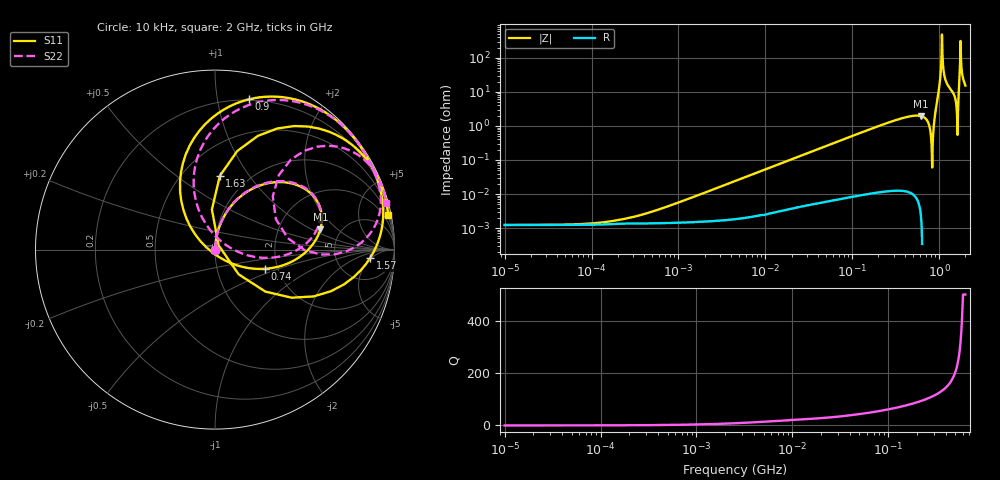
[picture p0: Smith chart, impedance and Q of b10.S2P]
!Generated from: C:\Users\nkfzm\OneDrive - University of Missouri\Desktop\Research\PowerSI\Board 10 - anchors\b10.spd
! Port1_ic_port_1::pwr
! Port2_decap_port_1::pwr
!Layout Workbench Version: 24.1.0.10141.541387  000
!Computer Host Name: RS29JQCX3
!TouchstoneFormatFlag = 1
! GNDNET gnd
! NETSLIST
#	Hz	Z	RI	R	1
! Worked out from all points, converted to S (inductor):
!   585 points, 10 kHz to 2 GHz, reference 1 ohm
!   read as one part in series: L = 864 pH near 1 MHz
!   highest Q = 690 at 610 MHz (marker M1), where L = 515 pH
!   self-resonance near 829 MHz
!   S11 on the Smith chart (normalised r, x): 10 kHz: 1.00, +0.00; 740 MHz: 1.71, -0.40; 900 MHz: 0.19, +1.24; 1.57 GHz: 12, -5; 1.63 GHz: 0.74, +0.74; 2 GHz: 1, +10
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10000  0.3459 -1.701e+05  0.3453 -1.701e+05  0.3453 -1.701e+05  0.346 -1.701e+05
3000000  0.0011 -567.1  0.000295 -567.1  0.000295 -567.1  0.00115 -567.1
1e7  0.00162 -170.1  0.000402 -170.1  0.000402 -170.1  0.00169 -170.1
4.8e7  0.00391 -35.28  0.00108 -35.4  0.00108 -35.4  0.00408 -35.27
3.34e8  0.0107 -3.93  0.00322 -4.755  0.00322 -4.755  0.0111 -3.878
6.1e8  0.0154 -0.6159  0.00518 -2.126  0.00518 -2.126  0.0158 -0.5288
6.7e8  0.0165 -0.1339  0.00573 -1.795  0.00573 -1.795  0.0169 -0.0408
7.4e8  0.0178 0.3863  0.00646 -1.451  0.00646 -1.451  0.0182 0.4849
7.85e8  0.0187 0.7045  0.00702 -1.248  0.00702 -1.248  0.0191 0.8056
8.25e8  0.0197 0.9804  0.00758 -1.074  0.00758 -1.074  0.0199 1.083
9e8  0.0216 1.488  0.00887 -0.7604  0.00887 -0.7604  0.0217 1.59
1.005e9  0.0253 2.206  0.0115 -0.3208  0.0115 -0.3208  0.0249 2.298
1.075e9  0.0289 2.713  0.0143 -0.00608  0.0143 -0.00608  0.028 2.787
1.145e9  0.0343 3.271  0.0187 0.3517  0.0187 0.3517  0.0325 3.315
1.335e9  0.0942 5.682  0.0706 2.103  0.0706 2.103  0.0799 5.433
1.57e9  0.3499 -0.8782  0.2931 -4.182  0.2931 -4.182  0.2768 0.5955
1.605e9  0.1911 0.9939  0.1528 -2.61  0.1528 -2.61  0.1533 2.086
1.63e9  0.1447 1.834  0.1115 -1.928  0.1115 -1.928  0.1171 2.762
1.67e9  0.1097 2.814  0.0799 -1.161  0.0799 -1.161  0.0893 3.555
1.76e9  0.0945 4.435  0.0636 0.0255  0.0636 0.0255  0.0741 4.85
1.825e9  0.114 5.579  0.076 0.8188  0.076 0.8188  0.0827 5.706
2e9  1.27 14.61  0.8906 7.09  0.8906 7.09  0.66 10.9
